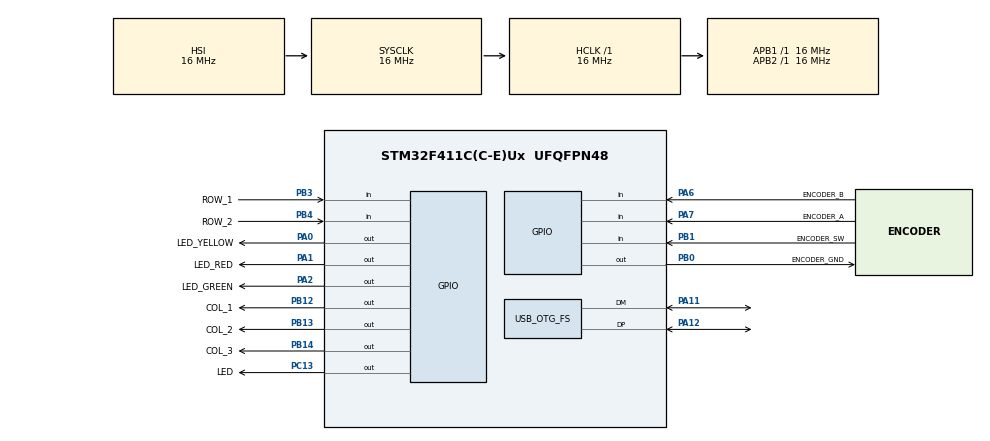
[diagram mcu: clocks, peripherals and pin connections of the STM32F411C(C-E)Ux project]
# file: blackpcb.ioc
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Mcu.Family=STM32F4
Mcu.Name=STM32F411C(C-E)Ux
Mcu.Package=UFQFPN48
NVIC.OTG_FS_IRQn=true\:0\:0\:false\:false\:true\:false\:true\:true
NVIC.PriorityGroup=NVIC_PRIORITYGROUP_4
NVIC.TIM1_TRG_COM_TIM11_IRQn=true\:0\:0\:false\:false\:true\:true\:true\:true
NVIC.TIM1_UP_TIM10_IRQn=true\:0\:0\:false\:false\:true\:true\:true\:true
PA0-WKUP.GPIO_Label=LED_YELLOW
PA0-WKUP.Signal=GPIO_Output
PA1.GPIO_Label=LED_RED
PA1.Signal=GPIO_Output
PA11.Mode=Device_Only
PA11.Signal=USB_OTG_FS_DM
PA12.Mode=Device_Only
PA12.Signal=USB_OTG_FS_DP
PA2.GPIO_Label=LED_GREEN
PA2.Signal=GPIO_Output
PA6.GPIO_Label=ENCODER_B
PA6.GPIO_PuPd=GPIO_PULLUP
PA6.Signal=GPIO_Input
PA7.GPIO_Label=ENCODER_A
PA7.GPIO_PuPd=GPIO_PULLUP
PA7.Signal=GPIO_Input
PB0.GPIO_Label=ENCODER_GND
PB0.Signal=GPIO_Output
PB1.GPIO_Label=ENCODER_SW
PB1.GPIO_PuPd=GPIO_PULLUP
PB1.Signal=GPIO_Input
PB12.GPIO_Label=COL_1
PB12.Signal=GPIO_Output
PB13.GPIO_Label=COL_2
PB13.Signal=GPIO_Output
PB14.GPIO_Label=COL_3
PB14.Signal=GPIO_Output
PB3.GPIO_Label=ROW_1
PB3.GPIO_PuPd=GPIO_PULLDOWN
PB3.Signal=GPIO_Input
PB4.GPIO_Label=ROW_2
PB4.GPIO_PuPd=GPIO_PULLDOWN
PB4.Signal=GPIO_Input
PC13-ANTI_TAMP.GPIO_Label=LED
PC13-ANTI_TAMP.Signal=GPIO_Output
PH0\ -\ OSC_IN.Mode=HSE-External-Oscillator
PH0\ -\ OSC_IN.Signal=RCC_OSC_IN
PH1\ -\ OSC_OUT.Mode=HSE-External-Oscillator
PH1\ -\ OSC_OUT.Signal=RCC_OSC_OUT
ProjectManager.HeapSize=0x200
ProjectManager.StackSize=0x400
ProjectManager.TargetToolchain=Makefile
RCC.48MHZClocksFreq_Value=48000000
RCC.AHBFreq_Value=16000000
RCC.APB1Freq_Value=16000000
RCC.APB2Freq_Value=16000000
RCC.CortexFreq_Value=16000000
RCC.HSE_VALUE=8000000
RCC.HSI_VALUE=16000000
RCC.LSE_VALUE=32768
RCC.PLLM=4
RCC.PLLN=72
RCC.PLLQ=3
RCC.SYSCLKFreq_VALUE=16000000
RCC.VCOOutputFreq_Value=144000000
TIM10.Period=1 - 1
TIM10.Prescaler=16000 - 1
TIM11.Period=100 - 1
TIM11.Prescaler=16000
USB_DEVICE.CLASS_NAME_FS=HID
USB_DEVICE.PID_HID_FS=22317
USB_DEVICE.VirtualMode=Hid
USB_DEVICE.VirtualModeFS=Hid_FS
USB_OTG_FS.VirtualMode=Device_Only
VP_TIM10_VS_ClockSourceINT.Mode=Enable_Timer
VP_TIM11_VS_ClockSourceINT.Mode=Enable_Timer
VP_USB_DEVICE_VS_USB_DEVICE_HID_FS.Mode=HID_FS
board=custom

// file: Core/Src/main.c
/* USER CODE BEGIN Header */
// /**
//   ******************************************************************************
//   * @file           : main.c
//   * @brief          : Main program body
//   ******************************************************************************
//   * @attention
//   *
//   * Copyright (c) 2024 STMicroelectronics.
//   * All rights reserved.
//   *
//   * This software is licensed under terms that can be found in the LICENSE file
//   * in the root directory of this software component.
//   * If no LICENSE file comes with this software, it is provided AS-IS.
//   *
//   ******************************************************************************
//   */
/* USER CODE END Header */
#include "main.h"
#include "usb_device.h"

/* USER CODE BEGIN Includes */
#include <stdbool.h>
#include "usbd_hid.h"
#include "keycode.h"
#include "keymatrix.h"
#include "profile.h"
/* USER CODE END Includes */

TIM_HandleTypeDef htim10;
TIM_HandleTypeDef htim11;

/* USER CODE BEGIN PV */
bool matrix[KEYMATRIX_ROW][KEYMATRIX_COL];
int matrixProfile = 0;
volatile bool encoderA, encoderB, cw, ccw, scanned, encoderPressed,
              oldEncoder, newEncoder;
/* USER CODE END PV */

void SystemClock_Config(void);
static void MX_GPIO_Init(void);
static void MX_TIM10_Init(void);
static void MX_TIM11_Init(void);

/* USER CODE BEGIN 0 */
void matrix_reset(void)
{
  for (int i = 0; i < KEYMATRIX_ROW; i++)
    for (int j = 0; j < KEYMATRIX_COL; j++)
      matrix[i][j] = 0;
}

void read_encoder(void)
{
  static int state = 0;

  encoderA = HAL_GPIO_ReadPin(ENCODER_A_GPIO_Port, ENCODER_A_Pin);
  encoderB = HAL_GPIO_ReadPin(ENCODER_B_GPIO_Port, ENCODER_B_Pin);
  switch (state) {
  case 0:
    if (!encoderA)
      state = 1;
    else if (!encoderB)
      state = 4;
    break;
  case 1:
    if (!encoderB)
      state = 2;
    break;
  case 2:
    if (encoderA)
      state = 3;
    break;
  case 3:
    if (encoderA && encoderB) {
      state = 0;
      cw = 1;
      ccw = 0;
    }
    break;
  case 4:
    if (!encoderA)
      state = 5;
    break;
  case 5:
    if (encoderB)
      state = 6;
    break;
  case 6:
    if (encoderA && encoderB) {
      state = 0;
      cw = 0;
      ccw = 1;
    }
    break;
  default:
    break;
  }
}
/* USER CODE END 0 */

int main(void)
{

  /* MCU Configuration--------------------------------------------------------*/

  /* Reset of all peripherals, Initializes the Flash interface and the Systick. */
  HAL_Init();

  /* Configure the system clock */
  SystemClock_Config();

  /* Initialize all configured peripherals */
  MX_GPIO_Init();
  MX_USB_DEVICE_Init();
  MX_TIM10_Init();
  MX_TIM11_Init();
  /* USER CODE BEGIN 2 */
  HAL_TIM_Base_Start_IT(&htim11);
  keymatrix_init();
  matrix_reset();
  cw = ccw = scanned = false;
  encoderPressed = true;
  HAL_GPIO_WritePin(ENCODER_GND_GPIO_Port, ENCODER_GND_Pin, 0);
  HAL_GPIO_WritePin(LED_GPIO_Port, LED_Pin, 1);
  /* USER CODE END 2 */

  /* Infinite loop */
  while (1)
  {

    /* USER CODE BEGIN 3 */
    read_encoder();
    if (cw) {
      cw = 0;
      encoder_adjust_volume(VOL_UP);
    } else if (ccw) {
      ccw = 0;
      encoder_adjust_volume(VOL_DOWN);
    }

    if (scanned) {
      scanned = false;
      if (encoderPressed) {
        encoderPressed = 0;
        profile_switch();
      }
      for (int i = 0; i < KEYMATRIX_ROW; i++) {
        for (int j = 0; j < KEYMATRIX_COL; j++) {
          if (matrix[i][j]) {
            keymatrix_send_key(i, j);
          }
        }
      }
    }
    HAL_Delay(1);
  }
  /* USER CODE END 3 */
}

void SystemClock_Config(void)
{
  RCC_OscInitTypeDef RCC_OscInitStruct = {0};
  RCC_ClkInitTypeDef RCC_ClkInitStruct = {0};

  /** Configure the main internal regulator output voltage
  */
  __HAL_RCC_PWR_CLK_ENABLE();
  __HAL_PWR_VOLTAGESCALING_CONFIG(PWR_REGULATOR_VOLTAGE_SCALE1);

  /** Initializes the RCC Oscillators according to the specified parameters
  * in the RCC_OscInitTypeDef structure.
  */
  RCC_OscInitStruct.OscillatorType = RCC_OSCILLATORTYPE_HSI|RCC_OSCILLATORTYPE_HSE;
  RCC_OscInitStruct.HSEState = RCC_HSE_ON;
  RCC_OscInitStruct.HSIState = RCC_HSI_ON;
  RCC_OscInitStruct.HSICalibrationValue = RCC_HSICALIBRATION_DEFAULT;
  RCC_OscInitStruct.PLL.PLLState = RCC_PLL_ON;
  RCC_OscInitStruct.PLL.PLLSource = RCC_PLLSOURCE_HSE;
  RCC_OscInitStruct.PLL.PLLM = 4;
  RCC_OscInitStruct.PLL.PLLN = 72;
  RCC_OscInitStruct.PLL.PLLP = RCC_PLLP_DIV2;
  RCC_OscInitStruct.PLL.PLLQ = 3;
  if (HAL_RCC_OscConfig(&RCC_OscInitStruct) != HAL_OK)
  {
    Error_Handler();
  }

  /** Initializes the CPU, AHB and APB buses clocks
  */
  RCC_ClkInitStruct.ClockType = RCC_CLOCKTYPE_HCLK|RCC_CLOCKTYPE_SYSCLK
                              |RCC_CLOCKTYPE_PCLK1|RCC_CLOCKTYPE_PCLK2;
  RCC_ClkInitStruct.SYSCLKSource = RCC_SYSCLKSOURCE_HSI;
  RCC_ClkInitStruct.AHBCLKDivider = RCC_SYSCLK_DIV1;
  RCC_ClkInitStruct.APB1CLKDivider = RCC_HCLK_DIV1;
  RCC_ClkInitStruct.APB2CLKDivider = RCC_HCLK_DIV1;

  if (HAL_RCC_ClockConfig(&RCC_ClkInitStruct, FLASH_LATENCY_0) != HAL_OK)
  {
    Error_Handler();
  }
}

static void MX_TIM10_Init(void)
{

  htim10.Instance = TIM10;
  htim10.Init.Prescaler = 16000 - 1;
  htim10.Init.CounterMode = TIM_COUNTERMODE_UP;
  htim10.Init.Period = 1 - 1;
  htim10.Init.ClockDivision = TIM_CLOCKDIVISION_DIV1;
  htim10.Init.AutoReloadPreload = TIM_AUTORELOAD_PRELOAD_DISABLE;
  if (HAL_TIM_Base_Init(&htim10) != HAL_OK)
  {
    Error_Handler();
  }

}

static void MX_TIM11_Init(void)
{

  htim11.Instance = TIM11;
  htim11.Init.Prescaler = 16000;
  htim11.Init.CounterMode = TIM_COUNTERMODE_UP;
  htim11.Init.Period = 100 - 1;
  htim11.Init.ClockDivision = TIM_CLOCKDIVISION_DIV1;
  htim11.Init.AutoReloadPreload = TIM_AUTORELOAD_PRELOAD_DISABLE;
  if (HAL_TIM_Base_Init(&htim11) != HAL_OK)
  {
    Error_Handler();
  }

}

static void MX_GPIO_Init(void)
{
  GPIO_InitTypeDef GPIO_InitStruct = {0};

  /* GPIO Ports Clock Enable */
  __HAL_RCC_GPIOC_CLK_ENABLE();
  __HAL_RCC_GPIOH_CLK_ENABLE();
  __HAL_RCC_GPIOA_CLK_ENABLE();
  __HAL_RCC_GPIOB_CLK_ENABLE();

  /*Configure GPIO pin Output Level */
  HAL_GPIO_WritePin(LED_GPIO_Port, LED_Pin, GPIO_PIN_RESET);

  /*Configure GPIO pin Output Level */
  HAL_GPIO_WritePin(GPIOA, LED_YELLOW_Pin|LED_RED_Pin|LED_GREEN_Pin, GPIO_PIN_RESET);

  /*Configure GPIO pin Output Level */
  HAL_GPIO_WritePin(GPIOB, ENCODER_GND_Pin|COL_1_Pin|COL_2_Pin|COL_3_Pin, GPIO_PIN_RESET);

  /*Configure GPIO pin : LED_Pin */
  GPIO_InitStruct.Pin = LED_Pin;
  GPIO_InitStruct.Mode = GPIO_MODE_OUTPUT_PP;
  GPIO_InitStruct.Pull = GPIO_NOPULL;
  GPIO_InitStruct.Speed = GPIO_SPEED_FREQ_LOW;
  HAL_GPIO_Init(LED_GPIO_Port, &GPIO_InitStruct);

  /*Configure GPIO pins : LED_YELLOW_Pin LED_RED_Pin LED_GREEN_Pin */
  GPIO_InitStruct.Pin = LED_YELLOW_Pin|LED_RED_Pin|LED_GREEN_Pin;
  GPIO_InitStruct.Mode = GPIO_MODE_OUTPUT_PP;
  GPIO_InitStruct.Pull = GPIO_NOPULL;
  GPIO_InitStruct.Speed = GPIO_SPEED_FREQ_LOW;
  HAL_GPIO_Init(GPIOA, &GPIO_InitStruct);

  /*Configure GPIO pins : ENCODER_B_Pin ENCODER_A_Pin */
  GPIO_InitStruct.Pin = ENCODER_B_Pin|ENCODER_A_Pin;
  GPIO_InitStruct.Mode = GPIO_MODE_INPUT;
  GPIO_InitStruct.Pull = GPIO_PULLUP;
  HAL_GPIO_Init(GPIOA, &GPIO_InitStruct);

  /*Configure GPIO pins : ENCODER_GND_Pin COL_1_Pin COL_2_Pin COL_3_Pin */
  GPIO_InitStruct.Pin = ENCODER_GND_Pin|COL_1_Pin|COL_2_Pin|COL_3_Pin;
  GPIO_InitStruct.Mode = GPIO_MODE_OUTPUT_PP;
  GPIO_InitStruct.Pull = GPIO_NOPULL;
  GPIO_InitStruct.Speed = GPIO_SPEED_FREQ_LOW;
  HAL_GPIO_Init(GPIOB, &GPIO_InitStruct);

  /*Configure GPIO pin : ENCODER_SW_Pin */
  GPIO_InitStruct.Pin = ENCODER_SW_Pin;
  GPIO_InitStruct.Mode = GPIO_MODE_INPUT;
  GPIO_InitStruct.Pull = GPIO_PULLUP;
  HAL_GPIO_Init(ENCODER_SW_GPIO_Port, &GPIO_InitStruct);

  /*Configure GPIO pins : ROW_1_Pin ROW_2_Pin */
  GPIO_InitStruct.Pin = ROW_1_Pin|ROW_2_Pin;
  GPIO_InitStruct.Mode = GPIO_MODE_INPUT;
  GPIO_InitStruct.Pull = GPIO_PULLDOWN;
  HAL_GPIO_Init(GPIOB, &GPIO_InitStruct);

}

/* USER CODE BEGIN 4 */
void HAL_TIM_PeriodElapsedCallback(TIM_HandleTypeDef *htim)
{
  // Check which version of the timer triggered this callback and toggle LED
  if (htim == &htim11) {
    scanned = true;
    HAL_GPIO_WritePin(ENCODER_GND_GPIO_Port, ENCODER_GND_Pin, 0);
    newEncoder = HAL_GPIO_ReadPin(ENCODER_SW_GPIO_Port, ENCODER_SW_Pin);
    encoderPressed = !newEncoder && oldEncoder;
    oldEncoder = newEncoder;
    // encoderPressed = HAL_GPIO_ReadPin(ENCODER_SW_GPIO_Port, ENCODER_SW_Pin);
    HAL_GPIO_WritePin(ENCODER_GND_GPIO_Port, ENCODER_GND_Pin, 1);
    keymatrix_scan(matrix);
  }
}
/* USER CODE END 4 */

void Error_Handler(void)
{
  /* USER CODE BEGIN Error_Handler_Debug */
//   /* User can add his own implementation to report the HAL error return state */
//   __disable_irq();
//   while (1)
//   {
//   }
  /* USER CODE END Error_Handler_Debug */
}

#ifdef  USE_FULL_ASSERT
/**
  * @brief  Reports the name of the source file and the source line number
  *         where the assert_param error has occurred.
  * @param  file: pointer to the source file name
  * @param  line: assert_param error line source number
  * @retval None
  */
void assert_failed(uint8_t *file, uint32_t line)
{
  /* USER CODE BEGIN 6 */
//   /* User can add his own implementation to report the file name and line number,
//      ex: printf("Wrong parameters value: file %s on line %d\r\n", file, line) */
  /* USER CODE END 6 */
}
#endif /* USE_FULL_ASSERT */

// /* USER CODE BEGIN Header */
// // /**
// //   ******************************************************************************
// //   * @file           : main.c
// //   * @brief          : Main program body
// //   ******************************************************************************
// //   * @attention
// //   *
// //   * Copyright (c) 2024 STMicroelectronics.
// //   * All rights reserved.
// //   *
// //   * This software is licensed under terms that can be found in the LICENSE file
// //   * in the root directory of this software component.
// //   * If no LICENSE file comes with this software, it is provided AS-IS.
// //   *
// //   ******************************************************************************
// //   */
// /* USER CODE END Header */
// /* Includes ------------------------------------------------------------------*/
// #include "main.h"
// #include "usb_device.h"

// /* Private includes ----------------------------------------------------------*/
// /* USER CODE BEGIN Includes */
// #include <stdbool.h>
// #include "usbd_hid.h"
// #include "keycode.h"
// #include "keymatrix.h"
// #include "profile.h"
// /* USER CODE END Includes */

// /* Private typedef -----------------------------------------------------------*/
// /* USER CODE BEGIN PTD */

// /* USER CODE END PTD */

// /* Private define ------------------------------------------------------------*/
// /* USER CODE BEGIN PD */

// /* USER CODE END PD */

// /* Private macro -------------------------------------------------------------*/
// /* USER CODE BEGIN PM */

// /* USER CODE END PM */

// /* Private variables ---------------------------------------------------------*/
// TIM_HandleTypeDef htim10;
// TIM_HandleTypeDef htim11;

// /* USER CODE BEGIN PV */
// bool matrix[KEYMATRIX_ROW][KEYMATRIX_COL];
// int matrixProfile = 0;
// volatile bool encoderA, encoderB, cw, ccw, scanned, encoderPressed,
//               oldEncoder, newEncoder;
// /* USER CODE END PV */

// /* Private function prototypes -----------------------------------------------*/
// void SystemClock_Config(void);
// static void MX_GPIO_Init(void);
// static void MX_TIM10_Init(void);
// static void MX_TIM11_Init(void);
// /* USER CODE BEGIN PFP */

// /* USER CODE END PFP */

// /* Private user code ---------------------------------------------------------*/
// /* USER CODE BEGIN 0 */
// void matrix_reset(void)
// {
//   for (int i = 0; i < KEYMATRIX_ROW; i++)
//     for (int j = 0; j < KEYMATRIX_COL; j++)
//       matrix[i][j] = 0;
// }

// void read_encoder(void)
// {
//   static int state = 0;

//   encoderA = HAL_GPIO_ReadPin(ENCODER_A_GPIO_Port, ENCODER_A_Pin);
//   encoderB = HAL_GPIO_ReadPin(ENCODER_B_GPIO_Port, ENCODER_B_Pin);
//   switch (state) {
//   case 0:
//     if (!encoderA)
//       state = 1;
//     else if (!encoderB)
//       state = 4;
//     break;
//   case 1:
//     if (!encoderB)
//       state = 2;
//     break;
//   case 2:
//     if (encoderA)
//       state = 3;
//     break;
//   case 3:
//     if (encoderA && encoderB) {
//       state = 0;
//       cw = 1;
//       ccw = 0;
//     }
//     break;
//   case 4:
//     if (!encoderA)
//       state = 5;
//     break;
//   case 5:
//     if (encoderB)
//       state = 6;
//     break;
//   case 6:
//     if (encoderA && encoderB) {
//       state = 0;
//       cw = 0;
//       ccw = 1;
//     }
//     break;
//   default:
//     break;
//   }
// }
// /* USER CODE END 0 */

// /**
//   * @brief  The application entry point.
//   * @retval int
//   */
// int main(void)
// {
//   /* USER CODE BEGIN 1 */

//   /* USER CODE END 1 */

//   /* MCU Configuration--------------------------------------------------------*/

//   /* Reset of all peripherals, Initializes the Flash interface and the Systick. */
//   HAL_Init();

//   /* USER CODE BEGIN Init */

//   /* USER CODE END Init */

//   /* Configure the system clock */
//   SystemClock_Config();

//   /* USER CODE BEGIN SysInit */

//   /* USER CODE END SysInit */

//   /* Initialize all configured peripherals */
//   MX_GPIO_Init();
//   MX_USB_DEVICE_Init();
//   MX_TIM10_Init();
//   MX_TIM11_Init();
//   /* USER CODE BEGIN 2 */
//   HAL_TIM_Base_Start_IT(&htim11);
//   keymatrix_init();
//   matrix_reset();
//   cw = ccw = scanned = false;
//   encoderPressed = true;
//   HAL_GPIO_WritePin(ENCODER_GND_GPIO_Port, ENCODER_GND_Pin, 0);
//   /* USER CODE END 2 */

//   /* Infinite loop */
//   /* USER CODE BEGIN WHILE */
//   while (1)
//   {
//     /* USER CODE END WHILE */

//     /* USER CODE BEGIN 3 */
//     read_encoder();
//     if (cw) {
//       cw = 0;
//       encoder_adjust_volume(VOL_UP);
//     } else if (ccw) {
//       ccw = 0;
//       encoder_adjust_volume(VOL_DOWN);
//     }

//     if (scanned) {
//       scanned = false;
//       if (encoderPressed) {
//         encoderPressed = 0;
//         HAL_GPIO_TogglePin(LED_RED_GPIO_Port, LED_RED_Pin);
//         profile_switch();
//       }
//       for (int i = 0; i < KEYMATRIX_ROW; i++) {
//         for (int j = 0; j < KEYMATRIX_COL; j++) {
//           if (matrix[i][j]) {
//             HAL_GPIO_TogglePin(LED_GREEN_GPIO_Port, LED_GREEN_Pin);
//             keymatrix_send_key(i, j);
//           }
//         }
//       }
//     }
//     HAL_Delay(1);
//   }
//   /* USER CODE END 3 */
// }

// /**
//   * @brief System Clock Configuration
//   * @retval None
//   */
// void SystemClock_Config(void)
// {
//   RCC_OscInitTypeDef RCC_OscInitStruct = {0};
//   RCC_ClkInitTypeDef RCC_ClkInitStruct = {0};

//   /** Configure the main internal regulator output voltage
//   */
//   __HAL_RCC_PWR_CLK_ENABLE();
//   __HAL_PWR_VOLTAGESCALING_CONFIG(PWR_REGULATOR_VOLTAGE_SCALE1);

//   /** Initializes the RCC Oscillators according to the specified parameters
//   * in the RCC_OscInitTypeDef structure.
//   */
//   RCC_OscInitStruct.OscillatorType = RCC_OSCILLATORTYPE_HSI|RCC_OSCILLATORTYPE_HSE;
//   RCC_OscInitStruct.HSEState = RCC_HSE_ON;
//   RCC_OscInitStruct.HSIState = RCC_HSI_ON;
//   RCC_OscInitStruct.HSICalibrationValue = RCC_HSICALIBRATION_DEFAULT;
//   RCC_OscInitStruct.PLL.PLLState = RCC_PLL_ON;
//   RCC_OscInitStruct.PLL.PLLSource = RCC_PLLSOURCE_HSE;
//   RCC_OscInitStruct.PLL.PLLM = 4;
//   RCC_OscInitStruct.PLL.PLLN = 72;
//   RCC_OscInitStruct.PLL.PLLP = RCC_PLLP_DIV2;
//   RCC_OscInitStruct.PLL.PLLQ = 3;
//   if (HAL_RCC_OscConfig(&RCC_OscInitStruct) != HAL_OK)
//   {
//     Error_Handler();
//   }

//   /** Initializes the CPU, AHB and APB buses clocks
//   */
//   RCC_ClkInitStruct.ClockType = RCC_CLOCKTYPE_HCLK|RCC_CLOCKTYPE_SYSCLK
//                               |RCC_CLOCKTYPE_PCLK1|RCC_CLOCKTYPE_PCLK2;
//   RCC_ClkInitStruct.SYSCLKSource = RCC_SYSCLKSOURCE_HSI;
//   RCC_ClkInitStruct.AHBCLKDivider = RCC_SYSCLK_DIV1;
//   RCC_ClkInitStruct.APB1CLKDivider = RCC_HCLK_DIV1;
//   RCC_ClkInitStruct.APB2CLKDivider = RCC_HCLK_DIV1;

//   if (HAL_RCC_ClockConfig(&RCC_ClkInitStruct, FLASH_LATENCY_0) != HAL_OK)
//   {
//     Error_Handler();
//   }
// }

// /**
//   * @brief TIM10 Initialization Function
//   * @param None
//   * @retval None
//   */
// static void MX_TIM10_Init(void)
// {

//   /* USER CODE BEGIN TIM10_Init 0 */

//   /* USER CODE END TIM10_Init 0 */

//   /* USER CODE BEGIN TIM10_Init 1 */

//   /* USER CODE END TIM10_Init 1 */
//   htim10.Instance = TIM10;
//   htim10.Init.Prescaler = 16000 - 1;
//   htim10.Init.CounterMode = TIM_COUNTERMODE_UP;
//   htim10.Init.Period = 1 - 1;
//   htim10.Init.ClockDivision = TIM_CLOCKDIVISION_DIV1;
//   htim10.Init.AutoReloadPreload = TIM_AUTORELOAD_PRELOAD_DISABLE;
//   if (HAL_TIM_Base_Init(&htim10) != HAL_OK)
//   {
//     Error_Handler();
//   }
//   /* USER CODE BEGIN TIM10_Init 2 */

//   /* USER CODE END TIM10_Init 2 */

// }

// /**
//   * @brief TIM11 Initialization Function
//   * @param None
//   * @retval None
//   */
// static void MX_TIM11_Init(void)
// {

//   /* USER CODE BEGIN TIM11_Init 0 */

//   /* USER CODE END TIM11_Init 0 */

//   /* USER CODE BEGIN TIM11_Init 1 */

//   /* USER CODE END TIM11_Init 1 */
//   htim11.Instance = TIM11;
//   htim11.Init.Prescaler = 16000;
//   htim11.Init.CounterMode = TIM_COUNTERMODE_UP;
//   htim11.Init.Period = 100 - 1;
//   htim11.Init.ClockDivision = TIM_CLOCKDIVISION_DIV1;
//   htim11.Init.AutoReloadPreload = TIM_AUTORELOAD_PRELOAD_DISABLE;
//   if (HAL_TIM_Base_Init(&htim11) != HAL_OK)
//   {
//     Error_Handler();
//   }
//   /* USER CODE BEGIN TIM11_Init 2 */

//   /* USER CODE END TIM11_Init 2 */

// }

// /**
//   * @brief GPIO Initialization Function
//   * @param None
//   * @retval None
//   */
// static void MX_GPIO_Init(void)
// {
//   GPIO_InitTypeDef GPIO_InitStruct = {0};
// /* USER CODE BEGIN MX_GPIO_Init_1 */
// /* USER CODE END MX_GPIO_Init_1 */

//   /* GPIO Ports Clock Enable */
//   __HAL_RCC_GPIOC_CLK_ENABLE();
//   __HAL_RCC_GPIOH_CLK_ENABLE();
//   __HAL_RCC_GPIOA_CLK_ENABLE();
//   __HAL_RCC_GPIOB_CLK_ENABLE();

//   /*Configure GPIO pin Output Level */
//   HAL_GPIO_WritePin(LED_GPIO_Port, LED_Pin, GPIO_PIN_RESET);

//   /*Configure GPIO pin Output Level */
//   HAL_GPIO_WritePin(GPIOA, LED_YELLOW_Pin|LED_RED_Pin|LED_GREEN_Pin, GPIO_PIN_RESET);

//   /*Configure GPIO pin Output Level */
//   HAL_GPIO_WritePin(GPIOB, ENCODER_GND_Pin|COL_1_Pin|COL_2_Pin|COL_3_Pin, GPIO_PIN_RESET);

//   /*Configure GPIO pin : LED_Pin */
//   GPIO_InitStruct.Pin = LED_Pin;
//   GPIO_InitStruct.Mode = GPIO_MODE_OUTPUT_PP;
//   GPIO_InitStruct.Pull = GPIO_NOPULL;
//   GPIO_InitStruct.Speed = GPIO_SPEED_FREQ_LOW;
//   HAL_GPIO_Init(LED_GPIO_Port, &GPIO_InitStruct);

//   /*Configure GPIO pins : LED_YELLOW_Pin LED_RED_Pin LED_GREEN_Pin */
//   GPIO_InitStruct.Pin = LED_YELLOW_Pin|LED_RED_Pin|LED_GREEN_Pin;
//   GPIO_InitStruct.Mode = GPIO_MODE_OUTPUT_PP;
//   GPIO_InitStruct.Pull = GPIO_NOPULL;
//   GPIO_InitStruct.Speed = GPIO_SPEED_FREQ_LOW;
//   HAL_GPIO_Init(GPIOA, &GPIO_InitStruct);

//   /*Configure GPIO pins : ENCODER_B_Pin ENCODER_A_Pin */
//   GPIO_InitStruct.Pin = ENCODER_B_Pin|ENCODER_A_Pin;
//   GPIO_InitStruct.Mode = GPIO_MODE_INPUT;
//   GPIO_InitStruct.Pull = GPIO_PULLUP;
//   HAL_GPIO_Init(GPIOA, &GPIO_InitStruct);

//   /*Configure GPIO pins : ENCODER_GND_Pin COL_1_Pin COL_2_Pin COL_3_Pin */
//   GPIO_InitStruct.Pin = ENCODER_GND_Pin|COL_1_Pin|COL_2_Pin|COL_3_Pin;
//   GPIO_InitStruct.Mode = GPIO_MODE_OUTPUT_PP;
//   GPIO_InitStruct.Pull = GPIO_NOPULL;
//   GPIO_InitStruct.Speed = GPIO_SPEED_FREQ_LOW;
//   HAL_GPIO_Init(GPIOB, &GPIO_InitStruct);

//   /*Configure GPIO pin : ENCODER_SW_Pin */
//   GPIO_InitStruct.Pin = ENCODER_SW_Pin;
//   GPIO_InitStruct.Mode = GPIO_MODE_INPUT;
//   GPIO_InitStruct.Pull = GPIO_PULLUP;
//   HAL_GPIO_Init(ENCODER_SW_GPIO_Port, &GPIO_InitStruct);

//   /*Configure GPIO pins : ROW_1_Pin ROW_2_Pin */
//   GPIO_InitStruct.Pin = ROW_1_Pin|ROW_2_Pin;
//   GPIO_InitStruct.Mode = GPIO_MODE_INPUT;
//   GPIO_InitStruct.Pull = GPIO_PULLDOWN;
//   HAL_GPIO_Init(GPIOB, &GPIO_InitStruct);

// /* USER CODE BEGIN MX_GPIO_Init_2 */
// /* USER CODE END MX_GPIO_Init_2 */
// }

// /* USER CODE BEGIN 4 */
// void HAL_TIM_PeriodElapsedCallback(TIM_HandleTypeDef *htim)
// {
//   // Check which version of the timer triggered this callback and toggle LED
//   if (htim == &htim11) {
//     scanned = true;
//     HAL_GPIO_WritePin(ENCODER_GND_GPIO_Port, ENCODER_GND_Pin, 0);
//     newEncoder = HAL_GPIO_ReadPin(ENCODER_SW_GPIO_Port, ENCODER_SW_Pin);
//     encoderPressed = !newEncoder && oldEncoder;
//     oldEncoder = newEncoder;
//     // encoderPressed = HAL_GPIO_ReadPin(ENCODER_SW_GPIO_Port, ENCODER_SW_Pin);
//     HAL_GPIO_WritePin(ENCODER_GND_GPIO_Port, ENCODER_GND_Pin, 1);
//     keymatrix_scan(matrix);
//   }
// }
// /* USER CODE END 4 */

// /**
//   * @brief  This function is executed in case of error occurrence.
//   * @retval None
//   */
// void Error_Handler(void)
// {
//   /* USER CODE BEGIN Error_Handler_Debug */
// //   /* User can add his own implementation to report the HAL error return state */
// //   __disable_irq();
// //   while (1)
// //   {
// //   }
//   /* USER CODE END Error_Handler_Debug */
// }

// #ifdef  USE_FULL_ASSERT
// /**
//   * @brief  Reports the name of the source file and the source line number
//   *         where the assert_param error has occurred.
//   * @param  file: pointer to the source file name
//   * @param  line: assert_param error line source number
//   * @retval None
//   */
// void assert_failed(uint8_t *file, uint32_t line)
// {
//   /* USER CODE BEGIN 6 */
// //   /* User can add his own implementation to report the file name and line number,
// //      ex: printf("Wrong parameters value: file %s on line %d\r\n", file, line) */
//   /* USER CODE END 6 */
// }
// #endif /* USE_FULL_ASSERT */
